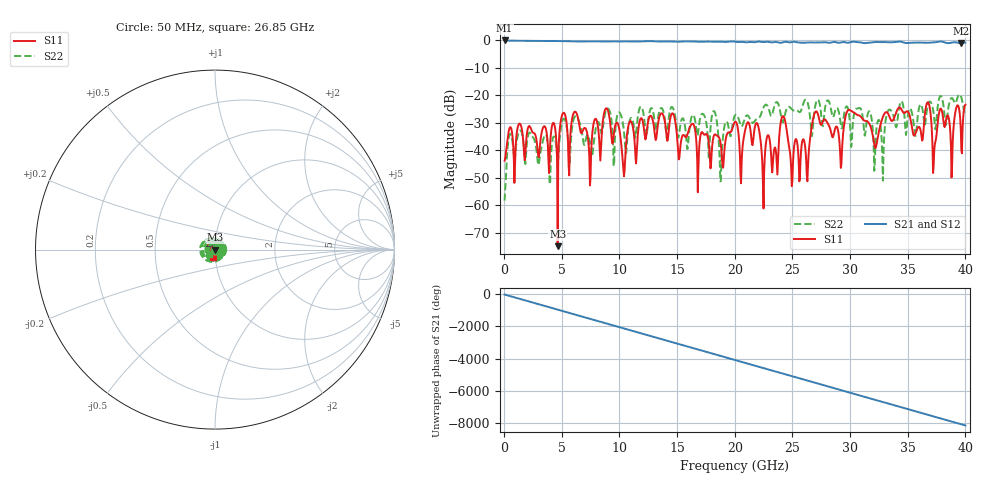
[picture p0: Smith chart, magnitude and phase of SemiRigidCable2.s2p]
! C:\Work\SPARQ2\Technical\Relays\SemiRigidCable2.s2p
! Tue Aug  7 09:55:11 2018
!!Measured using LeCroy SPARQ LCRY2401N02001
!SingleEnded
! freq S11 S21 S12 S22
# MHz S MA R 50.00
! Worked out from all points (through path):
!   800 points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, 50 MHz to 40 GHz, reference 50 ohm
!   highest |S21| = -0.03 dB at 50 MHz (marker M1); lowest = -1.1 dB at 39.6 GHz (marker M2)
!   group delay of S21, straight-line fit = 567 ps
!   lowest |S11| = -74.8 dB at 4.65 GHz (marker M3), VSWR 1.00, Z = 50 - j0.00716 ohm
!   |S11| at or under -10 dB: start of sweep to end of sweep
!   |S22| runs from -58.3 to -19.6 dB; largest |S21 - S12| = 0.027
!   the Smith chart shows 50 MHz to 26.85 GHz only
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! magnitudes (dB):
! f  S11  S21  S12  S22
! 50 MHz  -43.8  0.0  0.0  -58.3
! 550 MHz  -31.5  -0.1  -0.1  -34.0
! 4.65 GHz  -74.8  -0.3  -0.3  -44.2
! 5.15 GHz  -26.3  -0.3  -0.3  -28.6
! 6.75 GHz  -33.6  -0.4  -0.4  -33.3
! 8.9 GHz  -24.7  -0.5  -0.4  -25.1
! 10.4 GHz  -49.4  -0.3  -0.3  -33.2
! 10.95 GHz  -29.4  -0.4  -0.4  -28.5
! 13.4 GHz  -29.1  -0.4  -0.4  -26.9
! 18.2 GHz  -34.6  -0.5  -0.5  -25.7
! 18.8 GHz  -38.1  -0.6  -0.6  -51.2
! 20.05 GHz  -29.6  -0.5  -0.5  -27.1
! 20.55 GHz  -52.0  -0.5  -0.5  -31.1
! 21.95 GHz  -30.2  -0.5  -0.5  -28.6
! 22.5 GHz  -61.1  -0.6  -0.6  -24.4
! 24.15 GHz  -27.6  -0.7  -0.7  -29.9
! 24.9 GHz  -46.8  -0.7  -0.7  -24.9
! 26.7 GHz  -30.7  -0.7  -0.8  -34.8
! 32.85 GHz  -27.8  -0.6  -0.7  -51.0
! 33.35 GHz  -27.1  -0.7  -0.8  -25.3
! 39.6 GHz  -32.3  -1.1  -1.1  -20.2
! 40 GHz  -23.4  -0.8  -0.7  -27.3
